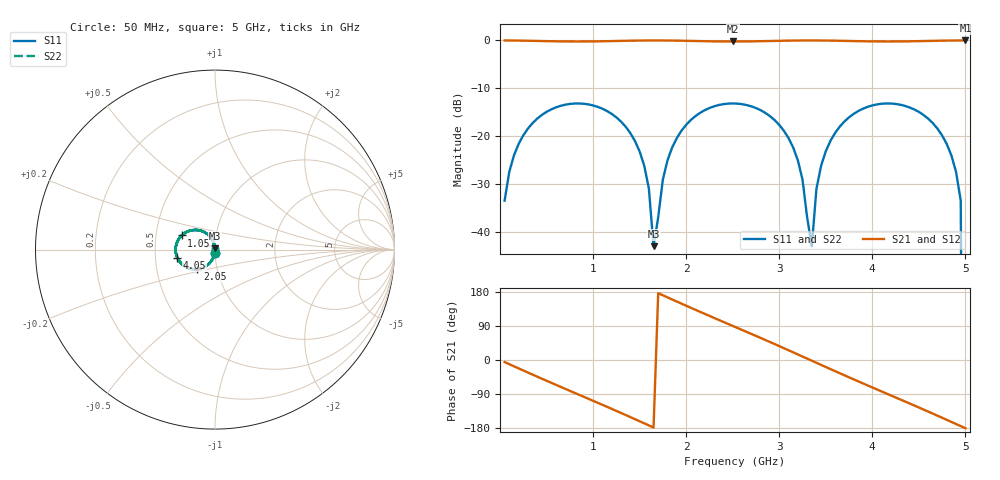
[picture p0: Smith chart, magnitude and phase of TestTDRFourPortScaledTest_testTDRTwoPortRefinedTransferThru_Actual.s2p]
# MHz MA S R 50.0
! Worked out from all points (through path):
!   100 points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, 50 MHz to 5 GHz, reference 50 ohm
!   highest |S21| = 0.00 dB at 5 GHz (marker M1); lowest = -0.2 dB at 2.5 GHz (marker M2)
!   group delay of S21, straight-line fit = 300 ps
!   lowest |S11| = -43.0 dB at 1.65 GHz (marker M3), VSWR 1.01, Z = 50 + j0.706 ohm
!   |S11| at or under -10 dB: start of sweep to end of sweep
!   |S22| runs from - to -13.2 dB; largest |S21 - S12| = 0
!   S11 on the Smith chart (normalised r, x): 50 MHz: 1.00, -0.04; 1.05 GHz: 0.68, +0.11; 2.05 GHz: 0.80, -0.18; 4.05 GHz: 0.65, -0.06; 5 GHz: 1.00, +0.00
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50  0.02117 -95.5  0.9998 -5.5  0.9998 -5.5  0.02117 -95.5
300  0.1197 -123.0  0.9928 -33.0  0.9928 -33.0  0.1197 -123.0
900  0.2179 173.0  0.976 -97.0  0.976 -97.0  0.2179 173.0
1050  0.2022 157.1  0.9793 -112.9  0.9793 -112.9  0.2022 157.1
1500  0.06936 108.4  0.9976 -161.6  0.9976 -161.6  0.06936 108.4
1600  0.02819 97.4  0.9996 -172.6  0.9996 -172.6  0.02819 97.4
1650  0.007067 91.8  1 -178.2  1 -178.2  0.007067 91.8
1700  0.01413 -93.7  0.9999 176.3  0.9999 176.3  0.01413 -93.7
1800  0.05587 -104.7  0.9984 165.3  0.9984 165.3  0.05587 -104.7
2050  0.1472 -132.1  0.9891 137.9  0.9891 137.9  0.1472 -132.1
2500  0.2195 -180.0  0.9756 90.0  0.9756 90.0  0.2195 -180.0
2550  0.2186 174.7  0.9758 84.7  0.9758 84.7  0.2186 174.7
3100  0.09536 115.7  0.9954 25.7  0.9954 25.7  0.09536 115.7
3350  0.007067 -91.8  1 -1.8  1 -1.8  0.007067 -91.8
3400  0.02819 -97.4  0.9996 -7.4  0.9996 -7.4  0.02819 -97.4
3550  0.089 -113.9  0.996 -23.9  0.996 -23.9  0.089 -113.9
4050  0.2145 -167.7  0.9767 -77.7  0.9767 -77.7  0.2145 -167.7
4200  0.2191 176.5  0.9757 -93.5  0.9757 -93.5  0.2191 176.5
4650  0.1366 128.5  0.9906 -141.5  0.9906 -141.5  0.1366 128.5
4900  0.04212 101.1  0.9991 -168.9  0.9991 -168.9  0.04212 101.1
4950  0.02117 95.5  0.9998 -174.5  0.9998 -174.5  0.02117 95.5
5000  0 90.0  1 -180.0  1 -180.0  0 90.0
